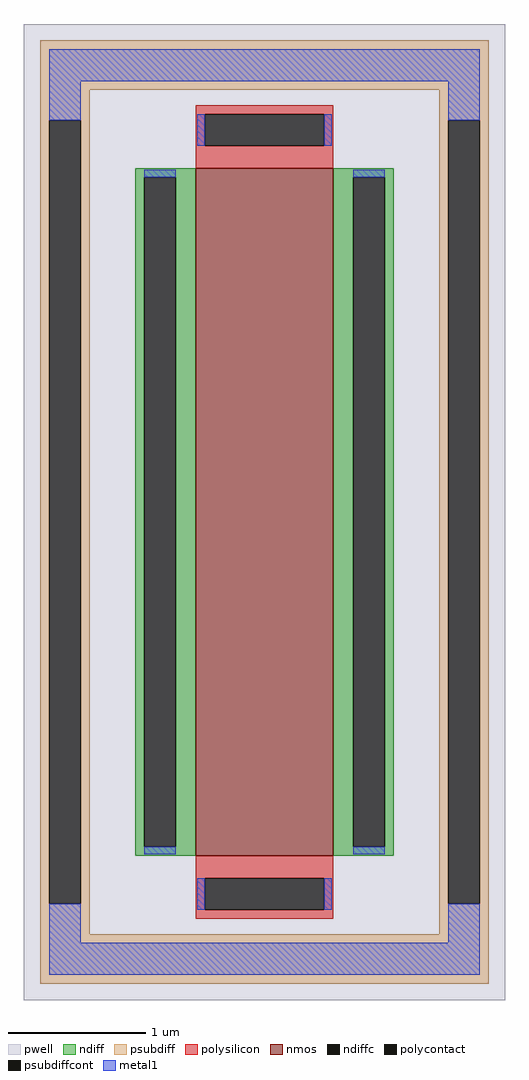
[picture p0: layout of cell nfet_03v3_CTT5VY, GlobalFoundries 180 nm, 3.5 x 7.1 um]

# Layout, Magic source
magic
tech gf180mcuD
magscale 1 10
<< pwell >>
rect -350 -710 350 710
<< nmos >>
rect -100 -500 100 500
<< ndiff >>
rect -188 487 -100 500
rect -188 -487 -175 487
rect -129 -487 -100 487
rect -188 -500 -100 -487
rect 100 487 188 500
rect 100 -487 129 487
rect 175 -487 188 487
rect 100 -500 188 -487
<< ndiffc >>
rect -175 -487 -129 487
rect 129 -487 175 487
<< psubdiff >>
rect -326 614 326 686
rect -326 570 -254 614
rect -326 -570 -313 570
rect -267 -570 -254 570
rect 254 570 326 614
rect -326 -614 -254 -570
rect 254 -570 267 570
rect 313 -570 326 570
rect 254 -614 326 -570
rect -326 -686 326 -614
<< psubdiffcont >>
rect -313 -570 -267 570
rect 267 -570 313 570
<< polysilicon >>
rect -100 579 100 592
rect -100 533 -87 579
rect 87 533 100 579
rect -100 500 100 533
rect -100 -533 100 -500
rect -100 -579 -87 -533
rect 87 -579 100 -533
rect -100 -592 100 -579
<< polycontact >>
rect -87 533 87 579
rect -87 -579 87 -533
<< metal1 >>
rect -313 627 313 673
rect -313 570 -267 627
rect -98 533 -87 579
rect 87 533 98 579
rect 267 570 313 627
rect -175 487 -129 498
rect -175 -498 -129 -487
rect 129 487 175 498
rect 129 -498 175 -487
rect -313 -627 -267 -570
rect -98 -579 -87 -533
rect 87 -579 98 -533
rect 267 -627 313 -570
rect -313 -673 313 -627
<< properties >>
string FIXED_BBOX -290 -650 290 650
string gencell nfet_03v3
string library gf180mcu
string parameters w 5.0 l 1.0 m 1 nf 1 diffcov 100 polycov 100 guard 1 glc 1 grc 1 gtc 0 gbc 0 tbcov 100 rlcov 100 topc 1 botc 1 poverlap 0 doverlap 1 lmin 0.28 wmin 0.22 class mosfet full_metal 1 compatible {nfet_03v3 nfet_05v0 nfet_06v0 nfet_06v0_nvt}
<< end >>
